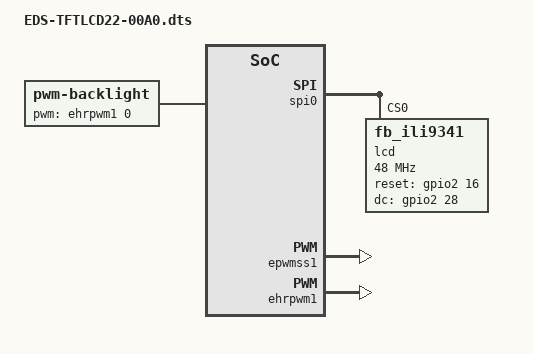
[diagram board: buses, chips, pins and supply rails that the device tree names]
/dts-v1/;
/plugin/;

/ {
	compatible = "ti,beaglebone", "ti,beaglebone-black";

	/* identification */
	part-number = "EDS-TFTLCD22";

	/* version */
	version = "00A0";

	/* stat the resources this cape uses */
	exclusive-use = 
		/* the pin header uses */
		"P9.22",	/* spi0_sclk */
		"P9.21",	/* spi0_d0 - MISO */
		"P9.18",	/* spi0_d1 - MOSI */
		"P9.17",	/* spi0_cs0 */
		"P9.15",	/* gpio1_16 - reset */
		"P9.12",	/* gpio1_28 - dc */
		"P9.14",	/* ehrpwm1a - backlight */
		/* the hardware ip uses */
		"gpio1_16",
		"gpio1_28",
		"ehrpwm1a",
		"spi0";

	fragment@0 {
		target = <&am33xx_pinmux>;
		__overlay__ {
			spi0_pins_s0: spi0_pins_s0 {
				pinctrl-single,pins = <
					0x150 0x30	/* P9_22: spi0_sclk, INPUT_PULLUP | MODE0 */
					0x154 0x30	/* P9_21: spi0_d0 MISO, INPUT_PULLUP | MODE0 */
					0x158 0x10	/* P9_18: spi0_d1 MOSI, OUTPUT_PULLUP | MODE0 */
					0x15c 0x10	/* P9_17: spi0_cs0, OUTPUT_PULLUP | MODE0 */
				>;
			};

			lcd_ctrl_pinmux: lcd_ctrl_pins {
				pinmctrl-single,pins = <
					0x040 0x17	/* P9_15: gpio1_16 reset, OUTPUT_PULLUP | MODE7 */
					0x078 0x17	/* P9_12: gpio1_28 DC, OUTPUT_PULLUP | MODE7 */
				>;
			};

			pwm_bl_pins: pinmux_pwm_bl_pins {
				pinctrl-single,pins = <
					0x48 0x06	/* P9_14: ehrpwm1a, MODE6 */
				>;
			};
		};
	};

	fragment@1 {
		target = <&spi0>;
		__overlay__ {
			status = "okay";
			pinctrl-names = "default";
			pinctrl-0 = <&spi0_pins_s0>;

			#address-cells = <1>;
			#size-cells = <0>;

			lcd@0{
				compatible = "fb_ili9341";
				reg = <0>;

				pinctrl-names = "default";
				pinctrl-0 = <&lcd_ctrl_pinmux>;

				spi-max-frequency = <48000000>;
				rotate = <270>;
				bgr;
				fps = <50>;
				buswidth = <8>;
				reset-gpios = <&gpio2 16 0>;
				dc-gpios = <&gpio2 28 0>;

				debug = <3>;
			};
		};
	};

	fragment@2 {
		target = <&epwmss1>;
		__overlay__ {
			status = "okay";
		};
	};

	fragment@3 {
		target = <&ehrpwm1>;
		__overlay__ {
			status = "okay";
		};
	};

	fragment@4 {
		target = <&ocp>;
		__overlay__ {
			backlight {
				compatible = "pwm-backlight";
				pinctrl-names = "default";
				pinctrl-0 = <&pwm_bl_pins>;
				status = "okay";

				pwms = <&ehrpwm1 0 500000 0>;
				pwm-names = "backlight";
				brightness-levels = <0 4 8 16 32 64 128 255>;
				default-brightness-level = <7>; /* index to the array above */
			};
		};
	};
};
